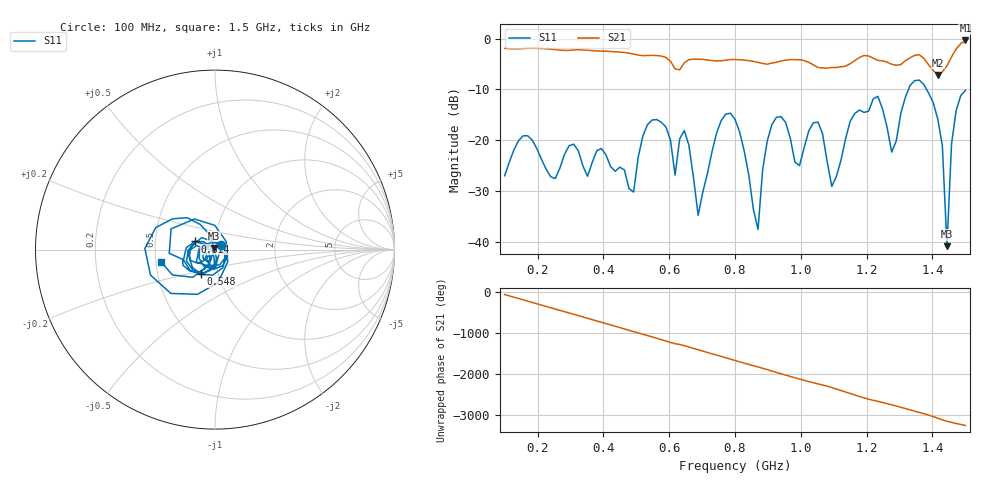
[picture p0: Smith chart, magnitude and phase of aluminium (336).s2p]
! NanoVNA-App
! Date: 2025-09-25 14:57:54
! Start: 100MHz Stop: 1,5GHz Points: 101
! S-Parameter data: F S11 S21 S12 S22
# Hz S RI R 50
!  Frequency  S11_Real  S11_Imag  S21_Real  S21_Imag  S12_Real  S12_Imag  S22_Real  S22_Imag
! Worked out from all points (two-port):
!   101 points, 100 MHz to 1.5 GHz, reference 50 ohm
!   highest |S21| = -0.37 dB at 1.5 GHz (marker M1); lowest = -7.2 dB at 1.416 GHz (marker M2)
!   |S21| within 3 dB of the highest: start of sweep to 567.6 MHz; 1.46 GHz to end of sweep (the widest 2 of 4)
!   lowest |S11| = -40.8 dB at 1.444 GHz (marker M3), VSWR 1.02, Z = 49.6 + j0.838 ohm
!   |S11| at or under -10 dB: start of sweep to 1.327 GHz; 1.382 GHz to end of sweep
!   S12 and S22 are empty: the file has one direction only
!   S11 on the Smith chart (normalised r, x): 100 MHz: 1.07, +0.06; 548 MHz: 0.82, -0.23; 814 MHz: 0.80, +0.07; 1.5 GHz: 0.53, -0.08
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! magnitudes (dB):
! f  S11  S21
! 100 MHz  -27.0  -1.9
! 338 MHz  -25.0  -2.2
! 492 MHz  -30.2  -3.1
! 548 MHz  -16.0  -3.3
! 576 MHz  -16.4  -3.4
! 618 MHz  -26.8  -6.0
! 646 MHz  -18.1  -4.7
! 688 MHz  -34.7  -4.1
! 800 MHz  -15.9  -4.1
! 814 MHz  -18.3  -4.2
! 870 MHz  -37.5  -4.7
! 912 MHz  -16.9  -4.8
! 996 MHz  -24.9  -4.2
! 1.038 GHz  -16.5  -5.2
! 1.094 GHz  -29.0  -5.7
! 1.22 GHz  -11.8  -3.8
! 1.276 GHz  -22.3  -5.0
! 1.346 GHz  -8.3  -3.3
! 1.416 GHz  -15.8  -7.2
! 1.444 GHz  -40.8  -5.4
! 1.458 GHz  -20.6  -3.6
! 1.5 GHz  -10.2  -0.4
